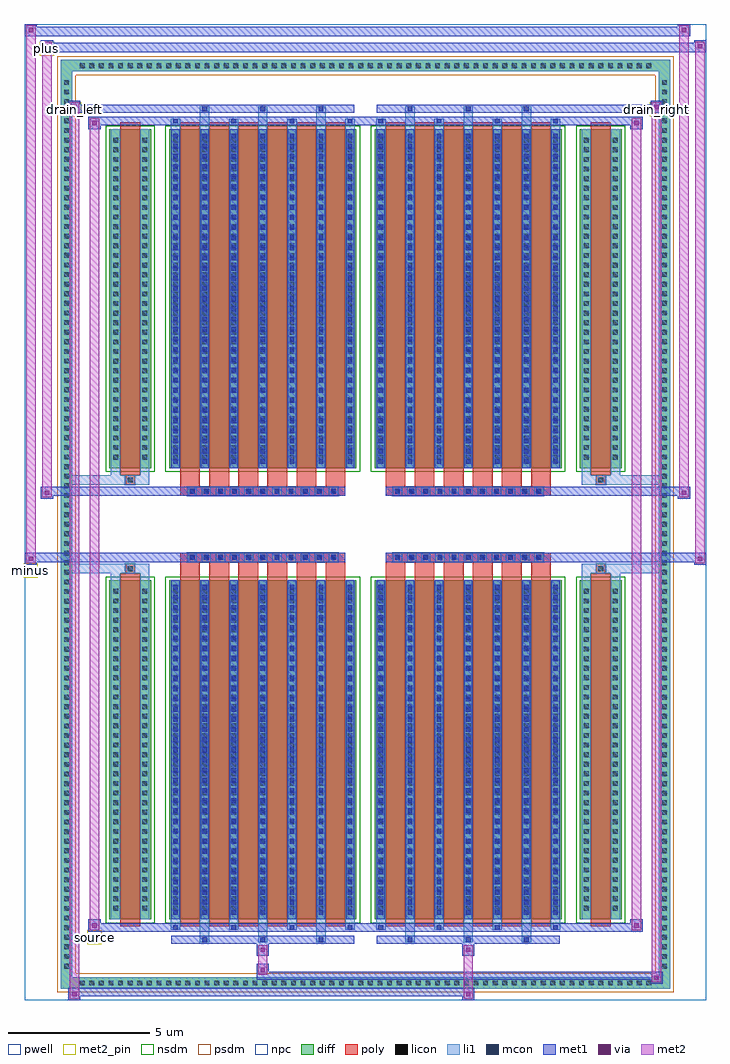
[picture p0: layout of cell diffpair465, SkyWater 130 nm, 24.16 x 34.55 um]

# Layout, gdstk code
import gdstk
lib = gdstk.Library(unit=1e-6, precision=5e-09)
def R(c, l, rs):  # rectangles x0, y0, x1, y1
    for r in rs: c.add(gdstk.rectangle(r[:2], r[2:], *l))
def A(c, l, x, y, w, h, nx, ny, dx, dy):  # array of equal rectangles
    R(c, l, [(x+i*dx, y+j*dy, x+i*dx+w, y+j*dy+h) for i in range(nx) for j in range(ny)])
def P(c, l, *ps):  # polygons
    for p in ps: c.add(gdstk.Polygon(p, *l))
pwell = (64, 44)
diff = (65, 20)
poly = (66, 20)
licon = (66, 44)
li1 = (67, 20)
mcon = (67, 44)
met1 = (68, 20)
via = (68, 44)
met2_pin = (69, 16)
met2 = (69, 20)
nsdm = (93, 44)
psdm = (94, 20)
npc = (95, 20)

diffpair465 = lib.new_cell('diffpair465')
R(diffpair465, pwell, [(-12.06,-16.84,12.06,17.71), (-9.38,-15.03,-0.01,-0.805), (0.01,-15.03,9.38,-0.805), (-9.38,0.805,-0.01,15.03), (0.01,0.805,9.38,15.03)])
A(diffpair465, diff, -10.235, -16.44, 0.41, 0.41, 60, 2, 0.34, 32.47)
A(diffpair465, diff, -10.79, -15.845, 0.41, 0.41, 1, 93, 0, 0.34)
A(diffpair465, diff, 10.38, -15.845, 0.41, 0.41, 1, 93, 0, 0.34)
R(diffpair465, diff, [(-10.235,-16.44,10.235,-16.03), (-10.79,-15.845,-10.38,15.845), (10.38,-15.845,10.79,15.845), (-9.07,-13.985,-7.59,-1.985), (-6.95,-13.985,-0.32,-1.985), (0.32,-13.985,6.95,-1.985), (7.59,-13.985,9.07,-1.985), (-9.07,1.985,-7.59,13.985), (-6.95,1.985,-0.32,13.985), (0.32,1.985,6.95,13.985), (7.59,1.985,9.07,13.985), (-10.235,16.03,10.235,16.44)])
P(diffpair465, diff, [(10.79,16.44),(-10.79,16.44),(-10.79,-16.03),(-10.38,-16.03),(-10.38,16.03),(10.38,16.03),(10.38,-16.03),(-10.38,-16.03),(-10.79,-16.03),(-10.79,-16.44),(10.79,-16.44)])
A(diffpair465, poly, -6.56, -14.235, 0.7, 12.5, 6, 2, 1.03, 15.97)
A(diffpair465, poly, 0.71, -14.235, 0.7, 12.5, 6, 2, 1.03, 15.97)
A(diffpair465, poly, -6.56, -1.735, 0.7, 0.4, 6, 2, 1.03, 3.07)
A(diffpair465, poly, 0.71, -1.735, 0.7, 0.4, 6, 2, 1.03, 3.07)
A(diffpair465, poly, -6.3, -1.335, 0.33, 0.33, 11, 2, 0.5, 2.34)
A(diffpair465, poly, 0.97, -1.335, 0.33, 0.33, 11, 2, 0.5, 2.34)
R(diffpair465, poly, [(-8.68,-14.235,-7.98,-1.735), (7.98,-14.235,8.68,-1.735), (-8.495,-1.735,-8.165,-1.405), (-8.495,-1.735,-8.165,-1.405), (8.165,-1.735,8.495,-1.405), (8.165,-1.735,8.495,-1.405), (-6.56,-1.335,-0.71,-1.005), (0.71,-1.335,6.56,-1.005), (-6.56,1.005,-0.71,1.335), (0.71,1.005,6.56,1.335), (-8.495,1.405,-8.165,1.735), (-8.495,1.405,-8.165,1.735), (8.165,1.405,8.495,1.735), (8.165,1.405,8.495,1.735), (-8.68,1.735,-7.98,14.235), (7.98,1.735,8.68,14.235)])
A(diffpair465, licon, -10.115, -16.32, 0.17, 0.17, 60, 2, 0.34, 32.47)
A(diffpair465, licon, -10.67, -15.725, 0.17, 0.17, 1, 93, 0, 0.34)
A(diffpair465, licon, 10.5, -15.725, 0.17, 0.17, 1, 93, 0, 0.34)
A(diffpair465, licon, -8.93, -13.68, 0.17, 0.17, 1, 34, 0, 0.34)
A(diffpair465, licon, -7.9, -13.68, 0.17, 0.17, 1, 34, 0, 0.34)
A(diffpair465, licon, -6.81, -13.68, 0.17, 0.17, 7, 34, 1.03, 0.34)
A(diffpair465, licon, 0.46, -13.68, 0.17, 0.17, 7, 34, 1.03, 0.34)
A(diffpair465, licon, 7.73, -13.68, 0.17, 0.17, 1, 34, 0, 0.34)
A(diffpair465, licon, 8.76, -13.68, 0.17, 0.17, 1, 34, 0, 0.34)
A(diffpair465, licon, -6.22, -1.255, 0.17, 0.17, 11, 2, 0.5, 2.34)
A(diffpair465, licon, 1.05, -1.255, 0.17, 0.17, 11, 2, 0.5, 2.34)
A(diffpair465, licon, -8.93, 2.29, 0.17, 0.17, 1, 34, 0, 0.34)
A(diffpair465, licon, -7.9, 2.29, 0.17, 0.17, 1, 34, 0, 0.34)
A(diffpair465, licon, -6.81, 2.29, 0.17, 0.17, 7, 34, 1.03, 0.34)
A(diffpair465, licon, 0.46, 2.29, 0.17, 0.17, 7, 34, 1.03, 0.34)
A(diffpair465, licon, 7.73, 2.29, 0.17, 0.17, 1, 34, 0, 0.34)
A(diffpair465, licon, 8.76, 2.29, 0.17, 0.17, 1, 34, 0, 0.34)
R(diffpair465, licon, [(-8.415,-1.655,-8.245,-1.485), (8.245,-1.655,8.415,-1.485), (-8.415,1.485,-8.245,1.655), (8.245,1.485,8.415,1.655)])
A(diffpair465, li1, -10.195, -16.4, 0.33, 0.33, 60, 2, 0.34, 32.47)
A(diffpair465, li1, -10.75, -15.805, 0.33, 0.33, 1, 93, 0, 0.34)
A(diffpair465, li1, 10.42, -15.805, 0.33, 0.33, 1, 93, 0, 0.34)
A(diffpair465, li1, -5.86, -14.79, 0.33, 0.805, 3, 2, 2.06, 28.775)
A(diffpair465, li1, -5.78, -14.79, 0.17, 0.17, 3, 2, 2.06, 29.41)
A(diffpair465, li1, 1.41, -14.79, 0.33, 0.805, 3, 2, 2.06, 28.775)
A(diffpair465, li1, 1.49, -14.79, 0.17, 0.17, 3, 2, 2.06, 29.41)
A(diffpair465, li1, -6.89, -14.36, 0.33, 0.375, 4, 2, 2.06, 28.345)
A(diffpair465, li1, -6.81, -14.36, 0.17, 0.17, 4, 2, 2.06, 28.55)
A(diffpair465, li1, 0.38, -14.36, 0.33, 0.375, 4, 2, 2.06, 28.345)
A(diffpair465, li1, 0.46, -14.36, 0.17, 0.17, 4, 2, 2.06, 28.55)
A(diffpair465, li1, -6.89, -13.985, 0.33, 12, 7, 2, 1.03, 15.97)
A(diffpair465, li1, 0.38, -13.985, 0.33, 12, 7, 2, 1.03, 15.97)
A(diffpair465, li1, -6.81, -13.83, 0.17, 0.17, 7, 33, 1.03, 0.36)
A(diffpair465, li1, -6.81, -13.83, 0.17, 11.69, 7, 2, 1.03, 15.97)
A(diffpair465, li1, 0.46, -13.83, 0.17, 0.17, 7, 33, 1.03, 0.36)
A(diffpair465, li1, 0.46, -13.83, 0.17, 11.69, 7, 2, 1.03, 15.97)
A(diffpair465, li1, -9.01, -13.76, 0.33, 0.33, 1, 34, 0, 0.34)
A(diffpair465, li1, -7.98, -13.76, 0.33, 0.33, 1, 34, 0, 0.34)
A(diffpair465, li1, -6.89, -13.76, 0.33, 0.33, 7, 34, 1.03, 0.34)
A(diffpair465, li1, 0.38, -13.76, 0.33, 0.33, 7, 34, 1.03, 0.34)
A(diffpair465, li1, 7.65, -13.76, 0.33, 0.33, 1, 34, 0, 0.34)
A(diffpair465, li1, 8.68, -13.76, 0.33, 0.33, 1, 34, 0, 0.34)
A(diffpair465, li1, -6.3, -1.335, 0.33, 0.33, 11, 2, 0.5, 2.34)
A(diffpair465, li1, 0.97, -1.335, 0.33, 0.33, 11, 2, 0.5, 2.34)
A(diffpair465, li1, -6.81, 2.14, 0.17, 0.17, 7, 33, 1.03, 0.36)
A(diffpair465, li1, 0.46, 2.14, 0.17, 0.17, 7, 33, 1.03, 0.36)
A(diffpair465, li1, -9.01, 2.21, 0.33, 0.33, 1, 34, 0, 0.34)
A(diffpair465, li1, -7.98, 2.21, 0.33, 0.33, 1, 34, 0, 0.34)
A(diffpair465, li1, -6.89, 2.21, 0.33, 0.33, 7, 34, 1.03, 0.34)
A(diffpair465, li1, 0.38, 2.21, 0.33, 0.33, 7, 34, 1.03, 0.34)
A(diffpair465, li1, 7.65, 2.21, 0.33, 0.33, 1, 34, 0, 0.34)
A(diffpair465, li1, 8.68, 2.21, 0.33, 0.33, 1, 34, 0, 0.34)
R(diffpair465, li1, [(-10.79,-16.44,-10.38,-16.03), (-10.79,-16.44,-10.38,-16.03), (-10.38,-16.44,10.38,-16.03), (10.38,-16.44,10.79,-16.03), (10.38,-16.44,10.79,-16.03), (-10.79,-16.03,-10.38,16.03), (10.38,-16.03,10.79,16.03), (-9.01,-13.985,-8.68,-1.985), (-7.98,-13.985,-7.65,-1.985), (7.65,-13.985,7.98,-1.985), (8.68,-13.985,9.01,-1.985), (-9.01,-1.985,-8.68,-1.405), (-7.98,-1.985,-7.65,-1.405), (7.65,-1.985,7.98,-1.405), (8.68,-1.985,9.01,-1.405), (-10.79,-1.735,-8.495,-1.405), (-9.01,-1.735,-8.495,-1.405), (-8.495,-1.735,-8.165,-1.405), (-8.165,-1.735,-7.65,-1.405), (7.65,-1.735,8.165,-1.405), (8.165,-1.735,8.495,-1.405), (8.165,-1.735,10.79,-1.405), (8.495,-1.735,9.01,-1.405), (-10.79,1.405,-8.495,1.735), (-9.01,1.405,-8.495,1.735), (-9.01,1.405,-8.68,1.985), (-8.495,1.405,-8.165,1.735), (-8.165,1.405,-7.65,1.735), (-7.98,1.405,-7.65,1.985), (7.65,1.405,8.165,1.735), (7.65,1.405,7.98,1.985), (8.165,1.405,8.495,1.735), (8.165,1.405,10.79,1.735), (8.495,1.405,9.01,1.735), (8.68,1.405,9.01,1.985), (-9.01,1.985,-8.68,13.985), (-7.98,1.985,-7.65,13.985), (7.65,1.985,7.98,13.985), (8.68,1.985,9.01,13.985), (-10.79,16.03,-10.38,16.44), (-10.79,16.03,-10.38,16.44), (-10.38,16.03,10.38,16.44), (10.38,16.03,10.79,16.44), (10.38,16.03,10.79,16.44)])
A(diffpair465, mcon, -5.78, -14.79, 0.17, 0.17, 3, 2, 2.06, 29.41)
A(diffpair465, mcon, 1.49, -14.79, 0.17, 0.17, 3, 2, 2.06, 29.41)
A(diffpair465, mcon, -6.81, -14.36, 0.17, 0.17, 4, 2, 2.06, 28.55)
A(diffpair465, mcon, 0.46, -14.36, 0.17, 0.17, 4, 2, 2.06, 28.55)
A(diffpair465, mcon, -6.81, -13.83, 0.17, 0.17, 7, 33, 1.03, 0.36)
A(diffpair465, mcon, 0.46, -13.83, 0.17, 0.17, 7, 33, 1.03, 0.36)
A(diffpair465, mcon, -6.22, -1.255, 0.17, 0.17, 11, 2, 0.5, 2.34)
A(diffpair465, mcon, 1.05, -1.255, 0.17, 0.17, 11, 2, 0.5, 2.34)
A(diffpair465, mcon, -6.81, 2.14, 0.17, 0.17, 7, 33, 1.03, 0.36)
A(diffpair465, mcon, 0.46, 2.14, 0.17, 0.17, 7, 33, 1.03, 0.36)
A(diffpair465, met1, -5.84, -14.85, 0.29, 0.29, 3, 2, 2.06, 29.41)
A(diffpair465, met1, 1.43, -14.85, 0.29, 0.29, 3, 2, 2.06, 29.41)
A(diffpair465, met1, -6.87, -14.42, 0.29, 0.29, 4, 2, 2.06, 28.55)
A(diffpair465, met1, 0.4, -14.42, 0.29, 0.29, 4, 2, 2.06, 28.55)
A(diffpair465, met1, -6.87, -13.985, 0.29, 12, 7, 2, 1.03, 15.97)
A(diffpair465, met1, 0.4, -13.985, 0.29, 12, 7, 2, 1.03, 15.97)
A(diffpair465, met1, -6.87, -13.89, 0.29, 0.29, 7, 33, 1.03, 0.36)
A(diffpair465, met1, 0.4, -13.89, 0.29, 0.29, 7, 33, 1.03, 0.36)
A(diffpair465, met1, -6.28, -1.315, 0.29, 0.29, 11, 2, 0.5, 2.34)
A(diffpair465, met1, 0.99, -1.315, 0.29, 0.29, 11, 2, 0.5, 2.34)
A(diffpair465, met1, -6.87, 2.08, 0.29, 0.29, 7, 33, 1.03, 0.36)
A(diffpair465, met1, 0.4, 2.08, 0.29, 0.29, 7, 33, 1.03, 0.36)
R(diffpair465, met1, [(-10.52,-16.84,-10.09,-16.41), (3.42,-16.84,3.85,-16.41), (-10.52,-16.7,3.85,-16.41), (10.09,-16.27,10.52,-15.84), (-3.85,-16.13,10.52,-15.84), (-3.85,-15.99,-3.42,-15.56), (-3.85,-15.28,-3.42,-14.85), (3.42,-15.28,3.85,-14.85), (-6.87,-14.85,-0.4,-14.56), (0.4,-14.85,6.87,-14.56), (-9.81,-14.42,-9.38,-13.99), (-9.81,-14.42,-6.87,-14.13), (-6.87,-14.42,-0.4,-14.13), (-0.4,-14.42,0.4,-14.13), (0.4,-14.42,6.87,-14.13), (6.87,-14.42,9.81,-14.13), (9.38,-14.42,9.81,-13.99), (-12.06,-1.435,-11.63,-1.005), (11.63,-1.435,12.06,-1.005), (-12.06,-1.335,-0.71,-1.005), (-6.56,-1.335,-0.71,-1.005), (0.71,-1.335,6.56,-1.005), (0.71,-1.335,12.06,-1.005), (-11.49,0.905,-11.06,1.335), (11.06,0.905,11.49,1.335), (-11.49,1.005,-6.56,1.335), (-6.56,1.005,-0.71,1.335), (0.71,1.005,6.56,1.335), (6.56,1.005,11.49,1.335), (-9.81,13.99,-9.38,14.42), (9.38,13.99,9.81,14.42), (-9.81,14.13,-6.87,14.42), (-6.87,14.13,-0.4,14.42), (-0.4,14.13,0.4,14.42), (0.4,14.13,6.87,14.42), (6.87,14.13,9.81,14.42), (-10.52,14.56,-10.09,14.99), (-10.52,14.56,-6.87,14.85), (-6.87,14.56,-0.4,14.85), (0.4,14.56,6.87,14.85), (6.87,14.56,10.52,14.85), (10.09,14.56,10.52,14.99), (-11.49,16.71,-11.06,17.14), (-11.49,16.71,-9.38,17.04), (-9.38,16.71,9.38,17.04), (9.38,16.71,12.06,17.04), (11.63,16.71,12.06,17.14), (-12.06,17.28,-11.63,17.71), (-12.06,17.28,-9.38,17.61), (-9.38,17.28,9.38,17.61), (9.38,17.28,11.49,17.61), (11.06,17.28,11.49,17.71)])
R(diffpair465, via, [(-10.38,-16.7,-10.23,-16.55), (3.56,-16.7,3.71,-16.55), (10.23,-16.13,10.38,-15.98), (-3.71,-15.85,-3.56,-15.7), (-3.71,-15.14,-3.56,-14.99), (3.56,-15.14,3.71,-14.99), (-9.67,-14.28,-9.52,-14.13), (9.52,-14.28,9.67,-14.13), (-11.92,-1.295,-11.77,-1.145), (11.77,-1.295,11.92,-1.145), (-11.35,1.045,-11.2,1.195), (11.2,1.045,11.35,1.195), (-9.67,14.13,-9.52,14.28), (9.52,14.13,9.67,14.28), (-10.38,14.7,-10.23,14.85), (10.23,14.7,10.38,14.85), (-11.35,16.85,-11.2,17), (11.77,16.85,11.92,17), (-11.92,17.42,-11.77,17.57), (11.2,17.42,11.35,17.57)])
R(diffpair465, met2_pin, [(-9.845,-14.87,-9.345,-14.37), (-12.095,-1.885,-11.595,-1.385), (-10.555,14.44,-10.055,14.94), (10.055,14.44,10.555,14.94), (-11.525,16.59,-11.025,17.09)])
R(diffpair465, met2, [(-10.47,-16.79,-10.14,-16.46), (-10.47,-16.79,-10.14,14.94), (3.47,-16.79,3.8,-16.46), (3.47,-16.46,3.8,-15.23), (10.14,-16.22,10.47,-15.89), (10.14,-16.22,10.47,14.94), (-3.8,-15.94,-3.47,-15.61), (-3.8,-15.61,-3.47,-15.23), (-3.8,-15.23,-3.47,-14.9), (3.47,-15.23,3.8,-14.9), (-9.76,-14.37,-9.43,-14.04), (-9.76,-14.37,-9.43,14.37), (9.43,-14.37,9.76,-14.04), (9.43,-14.37,9.76,14.37), (-12.01,-1.385,-11.68,-1.055), (-12.01,-1.385,-11.68,17.66), (11.68,-1.385,12.01,-1.055), (11.68,-1.385,12.01,17.09), (-11.44,0.955,-11.11,1.285), (-11.44,0.955,-11.11,17.09), (11.11,0.955,11.44,1.285), (11.11,0.955,11.44,17.66), (-9.76,14.04,-9.43,14.37), (9.43,14.04,9.76,14.37), (-10.47,14.61,-10.14,14.94), (10.14,14.61,10.47,14.94), (-11.44,16.76,-11.11,17.09), (11.68,16.76,12.01,17.09), (-12.01,17.33,-11.68,17.66), (11.11,17.33,11.44,17.66)])
P(diffpair465, met2, [(12.01,-1.385),(12.01,-1.385),(12.01,-1.055),(12.01,-1.055)],
  [(12.01,16.76),(12.01,16.76),(12.01,17.09),(12.01,17.09)],
  [(-11.68,-1.385),(-11.68,-1.385),(-11.68,-1.055),(-11.68,-1.055)],
  [(-11.68,17.33),(-11.68,17.33),(-11.68,17.66),(-11.68,17.66)],
  [(11.44,0.955),(11.44,0.955),(11.44,1.285),(11.44,1.285)],
  [(11.44,17.33),(11.44,17.33),(11.44,17.66),(11.44,17.66)],
  [(-11.11,0.955),(-11.11,0.955),(-11.11,1.285),(-11.11,1.285)],
  [(-11.11,16.76),(-11.11,16.76),(-11.11,17.09),(-11.11,17.09)],
  [(-10.14,-16.79),(-10.14,-16.79),(-10.14,-16.46),(-10.14,-16.46)],
  [(-10.14,14.61),(-10.14,14.61),(-10.14,14.94),(-10.14,14.94)],
  [(10.47,-16.22),(10.47,-16.22),(10.47,-15.89),(10.47,-15.89)],
  [(10.47,14.61),(10.47,14.61),(10.47,14.94),(10.47,14.94)],
  [(-9.43,-14.37),(-9.43,-14.37),(-9.43,-14.04),(-9.43,-14.04)],
  [(-9.43,14.04),(-9.43,14.04),(-9.43,14.37),(-9.43,14.37)],
  [(9.76,-14.37),(9.76,-14.37),(9.76,-14.04),(9.76,-14.04)],
  [(9.76,14.04),(9.76,14.04),(9.76,14.37),(9.76,14.37)])
R(diffpair465, nsdm, [(-9.2,-14.115,-7.46,-1.855), (-7.08,-14.115,-0.19,-1.855), (0.19,-14.115,7.08,-1.855), (7.46,-14.115,9.2,-1.855), (-9.2,1.855,-7.46,14.115), (-7.08,1.855,-0.19,14.115), (0.19,1.855,7.08,14.115), (7.46,1.855,9.2,14.115)])
P(diffpair465, psdm, [(10.92,16.57),(-10.92,16.57),(-10.92,-15.9),(-10.25,-15.9),(-10.25,15.9),(10.25,15.9),(10.25,-15.9),(-10.25,-15.9),(-10.92,-15.9),(-10.92,-16.57),(10.92,-16.57)])
A(diffpair465, npc, -6.32, -1.355, 0.37, 0.37, 11, 2, 0.5, 2.34)
A(diffpair465, npc, 0.95, -1.355, 0.37, 0.37, 11, 2, 0.5, 2.34)
R(diffpair465, npc, [(-8.515,-1.755,-8.145,-1.385), (8.145,-1.755,8.515,-1.385), (-6.32,-1.355,-5.45,-0.985), (-6.32,-1.355,-5.45,-0.985), (-5.82,-1.355,-4.95,-0.985), (-5.82,-1.355,-4.95,-0.985), (-5.32,-1.355,-4.45,-0.985), (-5.32,-1.355,-4.45,-0.985), (-4.82,-1.355,-3.95,-0.985), (-4.82,-1.355,-3.95,-0.985), (-4.32,-1.355,-3.45,-0.985), (-4.32,-1.355,-3.45,-0.985), (-3.82,-1.355,-2.95,-0.985), (-3.82,-1.355,-2.95,-0.985), (-3.32,-1.355,-2.45,-0.985), (-3.32,-1.355,-2.45,-0.985), (-2.82,-1.355,-1.95,-0.985), (-2.82,-1.355,-1.95,-0.985), (-2.32,-1.355,-1.45,-0.985), (-2.32,-1.355,-1.45,-0.985), (-1.82,-1.355,-0.95,-0.985), (-1.82,-1.355,-0.95,-0.985), (0.95,-1.355,1.82,-0.985), (0.95,-1.355,1.82,-0.985), (1.45,-1.355,2.32,-0.985), (1.45,-1.355,2.32,-0.985), (1.95,-1.355,2.82,-0.985), (1.95,-1.355,2.82,-0.985), (2.45,-1.355,3.32,-0.985), (2.45,-1.355,3.32,-0.985), (2.95,-1.355,3.82,-0.985), (2.95,-1.355,3.82,-0.985), (3.45,-1.355,4.32,-0.985), (3.45,-1.355,4.32,-0.985), (3.95,-1.355,4.82,-0.985), (3.95,-1.355,4.82,-0.985), (4.45,-1.355,5.32,-0.985), (4.45,-1.355,5.32,-0.985), (4.95,-1.355,5.82,-0.985), (4.95,-1.355,5.82,-0.985), (5.45,-1.355,6.32,-0.985), (5.45,-1.355,6.32,-0.985), (-6.32,0.985,-5.45,1.355), (-6.32,0.985,-5.45,1.355), (-5.82,0.985,-4.95,1.355), (-5.82,0.985,-4.95,1.355), (-5.32,0.985,-4.45,1.355), (-5.32,0.985,-4.45,1.355), (-4.82,0.985,-3.95,1.355), (-4.82,0.985,-3.95,1.355), (-4.32,0.985,-3.45,1.355), (-4.32,0.985,-3.45,1.355), (-3.82,0.985,-2.95,1.355), (-3.82,0.985,-2.95,1.355), (-3.32,0.985,-2.45,1.355), (-3.32,0.985,-2.45,1.355), (-2.82,0.985,-1.95,1.355), (-2.82,0.985,-1.95,1.355), (-2.32,0.985,-1.45,1.355), (-2.32,0.985,-1.45,1.355), (-1.82,0.985,-0.95,1.355), (-1.82,0.985,-0.95,1.355), (0.95,0.985,1.82,1.355), (0.95,0.985,1.82,1.355), (1.45,0.985,2.32,1.355), (1.45,0.985,2.32,1.355), (1.95,0.985,2.82,1.355), (1.95,0.985,2.82,1.355), (2.45,0.985,3.32,1.355), (2.45,0.985,3.32,1.355), (2.95,0.985,3.82,1.355), (2.95,0.985,3.82,1.355), (3.45,0.985,4.32,1.355), (3.45,0.985,4.32,1.355), (3.95,0.985,4.82,1.355), (3.95,0.985,4.82,1.355), (4.45,0.985,5.32,1.355), (4.45,0.985,5.32,1.355), (4.95,0.985,5.82,1.355), (4.95,0.985,5.82,1.355), (5.45,0.985,6.32,1.355), (5.45,0.985,6.32,1.355), (-8.515,1.385,-8.145,1.755), (8.145,1.385,8.515,1.755)])
diffpair465.add(gdstk.Label('minus', (-11.845,-1.635), layer=69, texttype=5))
diffpair465.add(gdstk.Label('drain_right', (10.305,14.69), layer=69, texttype=5))
diffpair465.add(gdstk.Label('drain_left', (-10.305,14.69), layer=69, texttype=5))
diffpair465.add(gdstk.Label('source', (-9.595,-14.62), layer=69, texttype=5))
diffpair465.add(gdstk.Label('plus', (-11.275,16.84), layer=69, texttype=5))

lib.write_gds('diffpair465.gds')
